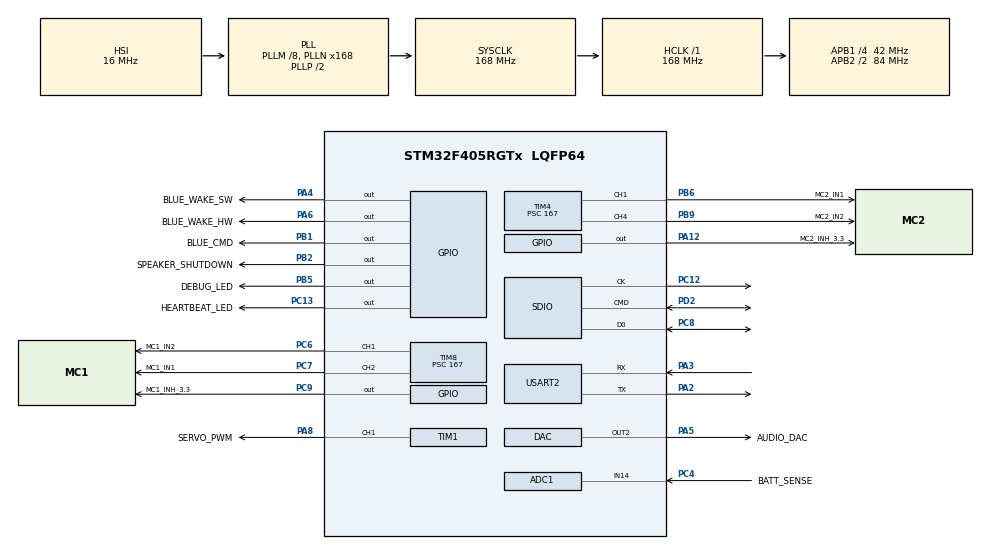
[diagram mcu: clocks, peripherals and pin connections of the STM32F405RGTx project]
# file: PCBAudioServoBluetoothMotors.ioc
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ADC1.Channel-11\#ChannelRegularConversion=ADC_CHANNEL_14
ADC1.ClockPrescaler=ADC_CLOCK_SYNC_PCLK_DIV4
ADC1.ContinuousConvMode=DISABLE
ADC1.DMAContinuousRequests=DISABLE
ADC1.DataAlign=ADC_DATAALIGN_RIGHT
ADC1.DiscontinuousConvMode=DISABLE
ADC1.EOCSelection=ADC_EOC_SINGLE_CONV
ADC1.EnableAnalogWatchDog=false
ADC1.ExternalTrigConvEdge=ADC_EXTERNALTRIGCONVEDGE_NONE
ADC1.InjNumberOfConversion=0
ADC1.NbrOfConversion=1
ADC1.NbrOfConversionFlag=1
ADC1.Rank-11\#ChannelRegularConversion=1
ADC1.Resolution=ADC_RESOLUTION_12B
ADC1.SamplingTime-11\#ChannelRegularConversion=ADC_SAMPLETIME_3CYCLES
ADC1.ScanConvMode=ENABLE
ADC1.master=1
Dma.DAC2.0.Direction=DMA_MEMORY_TO_PERIPH
Dma.DAC2.0.FIFOMode=DMA_FIFOMODE_DISABLE
Dma.DAC2.0.Instance=DMA1_Stream6
Dma.DAC2.0.MemDataAlignment=DMA_MDATAALIGN_BYTE
Dma.DAC2.0.MemInc=DMA_MINC_ENABLE
Dma.DAC2.0.Mode=DMA_NORMAL
Dma.DAC2.0.PeriphDataAlignment=DMA_PDATAALIGN_BYTE
Dma.DAC2.0.PeriphInc=DMA_PINC_DISABLE
Dma.DAC2.0.Priority=DMA_PRIORITY_VERY_HIGH
Dma.Request0=DAC2
Mcu.Family=STM32F4
Mcu.Name=STM32F405RGTx
Mcu.Package=LQFP64
NVIC.ADC_IRQn=true\:0\:0\:false\:false\:true
NVIC.DMA1_Stream6_IRQn=true\:0\:0\:false\:false\:true
NVIC.PriorityGroup=NVIC_PRIORITYGROUP_4
NVIC.TIM1_TRG_COM_TIM11_IRQn=true\:0\:0\:false\:false\:true
NVIC.TIM1_UP_TIM10_IRQn=true\:0\:0\:false\:false\:true
NVIC.TIM2_IRQn=true\:0\:0\:false\:false\:true
NVIC.TIM4_IRQn=true\:0\:0\:false\:false\:true
NVIC.TIM6_DAC_IRQn=true\:0\:0\:false\:false\:true
NVIC.TIM8_UP_TIM13_IRQn=true\:0\:0\:false\:false\:true
NVIC.USART2_IRQn=true\:0\:0\:false\:false\:true
PA12.GPIO_Label=MC2_INH_3.3
PA12.Signal=GPIO_Output
PA13.Mode=JTAG_5_pins
PA13.Signal=SYS_JTMS-SWDIO
PA14.Mode=JTAG_5_pins
PA14.Signal=SYS_JTCK-SWCLK
PA15.Mode=JTAG_5_pins
PA15.Signal=SYS_JTDI
PA2.Mode=Asynchronous
PA2.Signal=USART2_TX
PA3.Mode=Asynchronous
PA3.Signal=USART2_RX
PA4.GPIO_Label=BLUE_WAKE_SW
PA4.Signal=GPIO_Output
PA5.GPIO_Label=AUDIO_DAC
PA5.Signal=COMP_DAC2_group
PA6.GPIO_Label=BLUE_WAKE_HW
PA6.Signal=GPIO_Output
PA8.GPIO_Label=SERVO_PWM
PA8.Signal=S_TIM1_CH1
PB1.GPIO_Label=BLUE_CMD
PB1.Signal=GPIO_Output
PB2.GPIO_Label=SPEAKER_SHUTDOWN
PB2.Signal=GPIO_Output
PB3.Mode=JTAG_5_pins
PB3.Signal=SYS_JTDO-SWO
PB4.Mode=JTAG_5_pins
PB4.Signal=SYS_JTRST
PB5.GPIO_Label=DEBUG_LED
PB5.Signal=GPIO_Output
PB6.GPIO_Label=MC2_IN1
PB6.Signal=S_TIM4_CH1
PB9.GPIO_Label=MC2_IN2
PB9.Signal=S_TIM4_CH4
PC12.Mode=SD_1_bit
PC12.Signal=SDIO_CK
PC13-ANTI_TAMP.GPIO_Label=HEARTBEAT_LED
PC13-ANTI_TAMP.Signal=GPIO_Output
PC4.GPIO_Label=BATT_SENSE
PC4.Signal=ADCx_IN14
PC6.GPIO_Label=MC1_IN2
PC6.Signal=S_TIM8_CH1
PC7.GPIO_Label=MC1_IN1
PC7.Signal=S_TIM8_CH2
PC8.Mode=SD_1_bit
PC8.Signal=SDIO_D0
PC9.GPIO_Label=MC1_INH_3.3
PC9.Signal=GPIO_Output
PD2.Mode=SD_1_bit
PD2.Signal=SDIO_CMD
ProjectManager.HeapSize=0x200
ProjectManager.StackSize=0x400
ProjectManager.TargetToolchain=SW4STM32
RCC.48MHZClocksFreq_Value=48000000
RCC.AHBFreq_Value=168000000
RCC.APB1CLKDivider=RCC_HCLK_DIV4
RCC.APB1Freq_Value=42000000
RCC.APB1TimFreq_Value=84000000
RCC.APB2CLKDivider=RCC_HCLK_DIV2
RCC.APB2Freq_Value=84000000
RCC.APB2TimFreq_Value=168000000
RCC.CortexFreq_Value=168000000
RCC.HCLKFreq_Value=168000000
RCC.HSE_VALUE=25000000
RCC.HSI_VALUE=16000000
RCC.LSE_VALUE=32768
RCC.PLLM=8
RCC.PLLN=168
RCC.PLLQ=7
RCC.SYSCLKFreq_VALUE=168000000
RCC.SYSCLKSource=RCC_SYSCLKSOURCE_PLLCLK
RCC.VCOOutputFreq_Value=336000000
SDIO.BusWide=SDIO_BUS_WIDE_1B
SH.ADCx_IN14.0=ADC1_IN14,IN14
SH.COMP_DAC2_group.0=DAC_OUT2,DAC_OUT2
SH.S_TIM1_CH1.0=TIM1_CH1,PWM Generation1 CH1
SH.S_TIM4_CH1.0=TIM4_CH1,PWM Generation1 CH1
SH.S_TIM4_CH4.0=TIM4_CH4,PWM Generation4 CH4
SH.S_TIM8_CH1.0=TIM8_CH1,PWM Generation1 CH1
SH.S_TIM8_CH2.0=TIM8_CH2,PWM Generation2 CH2
TIM1.Period=20000
TIM1.Prescaler=167
TIM1.Pulse-PWM\ Generation1\ CH1=1500
TIM11.Period=12817
TIM11.Prescaler=65535
TIM11.Pulse=0
TIM13.Period=499
TIM13.Prescaler=4800
TIM2.Channel-Output\ Compare2\ No\ Output=TIM_CHANNEL_2
TIM2.Period=40000
TIM2.Prescaler=83
TIM4.Channel-PWM\ Generation4\ CH4=TIM_CHANNEL_4
TIM4.Period=100
TIM4.Prescaler=167
TIM6.Period=1749
TIM6.TIM_MasterOutputTrigger=TIM_TRGO_UPDATE
TIM8.Channel-PWM\ Generation2\ CH2=TIM_CHANNEL_2
TIM8.Period=100
TIM8.Prescaler=167
VP_FATFS_VS_SDIO.Mode=SDIO
VP_TIM11_VS_ClockSourceINT.Mode=Enable_Timer
VP_TIM11_VS_no_output1.Mode=Output Compare1 No Output
VP_TIM13_VS_ClockSourceINT.Mode=Enable_Timer
VP_TIM2_VS_no_output2.Mode=Output Compare2 No Output
VP_TIM6_VS_ClockSourceINT.Mode=Enable_Timer
board=PCBAudioServoBluetoothMotors

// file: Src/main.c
/**
  ******************************************************************************
  * File Name          : main.c
  * Description        : Main program body
  ******************************************************************************
  *
  * Copyright (c) 2016 STMicroelectronics International N.V.
  * All rights reserved.
  *
  * Redistribution and use in source and binary forms, with or without
  * modification, are permitted, provided that the following conditions are met:
  *
  * 1. Redistribution of source code must retain the above copyright notice,
  *    this list of conditions and the following disclaimer.
  * 2. Redistributions in binary form must reproduce the above copyright notice,
  *    this list of conditions and the following disclaimer in the documentation
  *    and/or other materials provided with the distribution.
  * 3. Neither the name of STMicroelectronics nor the names of other
  *    contributors to this software may be used to endorse or promote products
  *    derived from this software without specific written permission.
  * 4. This software, including modifications and/or derivative works of this
  *    software, must execute solely and exclusively on microcontroller or
  *    microprocessor devices manufactured by or for STMicroelectronics.
  * 5. Redistribution and use of this software other than as permitted under
  *    this license is void and will automatically terminate your rights under
  *    this license.
  *
  * THIS SOFTWARE IS PROVIDED BY STMICROELECTRONICS AND CONTRIBUTORS "AS IS"
  * AND ANY EXPRESS, IMPLIED OR STATUTORY WARRANTIES, INCLUDING, BUT NOT
  * LIMITED TO, THE IMPLIED WARRANTIES OF MERCHANTABILITY, FITNESS FOR A
  * PARTICULAR PURPOSE AND NON-INFRINGEMENT OF THIRD PARTY INTELLECTUAL PROPERTY
  * RIGHTS ARE DISCLAIMED TO THE FULLEST EXTENT PERMITTED BY LAW. IN NO EVENT
  * SHALL STMICROELECTRONICS OR CONTRIBUTORS BE LIABLE FOR ANY DIRECT, INDIRECT,
  * INCIDENTAL, SPECIAL, EXEMPLARY, OR CONSEQUENTIAL DAMAGES (INCLUDING, BUT NOT
  * LIMITED TO, PROCUREMENT OF SUBSTITUTE GOODS OR SERVICES; LOSS OF USE, DATA,
  * OR PROFITS; OR BUSINESS INTERRUPTION) HOWEVER CAUSED AND ON ANY THEORY OF
  * LIABILITY, WHETHER IN CONTRACT, STRICT LIABILITY, OR TORT (INCLUDING
  * NEGLIGENCE OR OTHERWISE) ARISING IN ANY WAY OUT OF THE USE OF THIS SOFTWARE,
  * EVEN IF ADVISED OF THE POSSIBILITY OF SUCH DAMAGE.
  *
  ******************************************************************************
  */
#include "main.h"
#include "stm32f4xx_hal.h"
#include "fatfs.h"

ADC_HandleTypeDef hadc1;

DAC_HandleTypeDef hdac;
DMA_HandleTypeDef hdma_dac2;

SD_HandleTypeDef hsd;
HAL_SD_CardInfoTypedef SDCardInfo;

TIM_HandleTypeDef htim1;
TIM_HandleTypeDef htim2;
TIM_HandleTypeDef htim4;
TIM_HandleTypeDef htim6;
TIM_HandleTypeDef htim8;
TIM_HandleTypeDef htim11;
TIM_HandleTypeDef htim13;

UART_HandleTypeDef huart2;

/* USER CODE BEGIN PV */
/* Private variables ---------------------------------------------------------*/
/*####################################*\
 * AUDIO Private Variables
\*####################################*/
#define AUDIO_buffer_size 96000
uint8_t AUDIO_buffer [AUDIO_buffer_size];
volatile uint32_t AUDIO_buffer_out = 0;
volatile uint8_t AUDIO_current_file = 0;
volatile uint8_t AUDIO_previous_file = 1;
volatile uint32_t AUDIO_current_file_length = 60049;
uint8_t AUDIO_num_files = 4;
FATFS AUDIO_SD_disk;
FIL AUDIO_SD_file;
char AUDIO_SD_diskPath[4] = "\0\0\0\0";

uint8_t AUDIO_buffer_chunk_0 [8192];
uint8_t AUDIO_buffer_chunk_1 [8192];
uint8_t AUDIO_current_chunk_length = 8192;
volatile uint8_t AUDIO_current_buffer = 1;
volatile uint8_t AUDIO_file_opened = 0;

// DAC stuff
DAC_HandleTypeDef DacHandle;
static DAC_ChannelConfTypeDef sConfig;

/*####################################*\
 * Servo Private Variables
\*####################################*/

volatile uint8_t SERVO_direction = 0;
volatile uint16_t SERVO_dutyCycle = 1500; // servo duty cycle in microseconds

/*####################################*\
 * Motor Private Variables
\*####################################*/

volatile uint8_t MOTOR_direction = 0; // 0 is stop, 1 is go, lol rip in peace
volatile uint8_t prev_MOTOR_direction = 0;
volatile int arbitraryCounter = 0;

/*####################################*\
 * Bluetooth Private Variables
\*####################################*/
char bluetoothTxBuffer[100] = "R,1\r\n";
uint8_t bluetoothRxBuffer[2] = {0};

uint8_t commandBuffer[30] = {0};
uint8_t commandBufferIndex = 0;
volatile uint8_t commandReceiveCompleted = 0;

/*####################################*\
 * Battery gauge Private Variables
\*####################################*/
volatile uint32_t rawADC;
volatile float batteryPercentage;
volatile uint8_t batteryPercentageBluetooth = 100;
volatile uint8_t oldBatteryPercentageBluetooth = 100;

/* USER CODE END PV */

void SystemClock_Config(void);
void Error_Handler(void);
static void MX_GPIO_Init(void);
static void MX_DMA_Init(void);
static void MX_DAC_Init(void);
static void MX_SDIO_SD_Init(void);
static void MX_TIM1_Init(void);
static void MX_USART2_UART_Init(void);
static void MX_TIM2_Init(void);
static void MX_TIM6_Init(void);
static void MX_TIM13_Init(void);
static void MX_TIM4_Init(void);
static void MX_ADC1_Init(void);
static void MX_TIM8_Init(void);
static void MX_TIM11_Init(void);

void HAL_TIM_MspPostInit(TIM_HandleTypeDef *htim);

/* USER CODE BEGIN PFP */
/* Private function prototypes -----------------------------------------------*/
/*####################################*\
 * Audio Function Prototypes
\*####################################*/
void AUDIO_SD_readFile(char * filename);
void AUDIO_SD_configure(void);
void AUDIO_DAC_configure(void);
void AUDIO_SD_readFileChunk(char * filename);
void AUDIO_DAC_configureChunk(void);

/*####################################*\
 * Bluetooth Function Prototypes
\*####################################*/
void SystemClock_Config(void);
void Error_Handler(void);
static void MX_GPIO_Init(void);
static void MX_USART2_UART_Init(void);

/* USER CODE END PFP */

/* USER CODE BEGIN 0 */

/// Update battery service value
void HAL_ADC_ConvCpltCallback(ADC_HandleTypeDef* hadc)
{
	if (__HAL_ADC_GET_FLAG(hadc, ADC_FLAG_EOC)) {
		rawADC = HAL_ADC_GetValue(hadc);
		batteryPercentage = ((((((float)rawADC)/4096.0)*13.3)-9.0)/3.4)*100;
		batteryPercentageBluetooth = (uint8_t) batteryPercentage;
		if (batteryPercentageBluetooth != oldBatteryPercentageBluetooth) {//((batteryPercentageBluetooth < (oldBatteryPercentageBluetooth-1)) || (batteryPercentageBluetooth > (oldBatteryPercentageBluetooth+1))) {
			// things have CHANGED
			oldBatteryPercentageBluetooth = batteryPercentageBluetooth;
			// otherwise things haven't
			uint8_t commandToSend[] = "SUW,2A19,00\r\n";
			char sixteensplace [2];
			char onesplace [2];
			sprintf(onesplace, "%1x", ((int)(batteryPercentageBluetooth%16)));
			sprintf(sixteensplace, "%1x", (uint8_t)(((batteryPercentageBluetooth-(batteryPercentageBluetooth%16))/16)));
			commandToSend[9] = sixteensplace[0];
			commandToSend[10] = onesplace[0];
			HAL_UART_Transmit(&huart2, commandToSend, 13, 100);
		}
	}
}

void HAL_UART_RxCpltCallback (UART_HandleTypeDef* huart) {
	if (huart->Instance == USART2) {
		// If we are receiving a new command, zero out its buffer
		if (commandBufferIndex == 0) for (uint8_t i = 0; i < 30; i++) commandBuffer[i] = 0;

		// Check if we have received new-line - end of command
		if (commandReceiveCompleted == 0 && bluetoothRxBuffer[0] != '\n') {
			// Add the received character to the end of the commandBuffer
			commandBuffer[commandBufferIndex++] = bluetoothRxBuffer[0];
		} else if (bluetoothRxBuffer[0] == '\n') {
			commandBufferIndex = 0;
			commandReceiveCompleted = 1;
		}
	}
	HAL_UART_Receive_IT(&huart2, bluetoothRxBuffer, 1);
}

void HAL_UART_ErrorCallback(UART_HandleTypeDef* huart) {
	// HAL_GPIO_TogglePin(LD5_GPIO_Port, LD5_Pin);
	HAL_UART_Receive_IT(&huart2, bluetoothRxBuffer, 1);
}

void BLUE_Process_Command(uint8_t* command) {
	// We are only interested in the WV,0018 command
	if (command[0] == 'W' && command[1] == 'V') {
		if (command[5] == '1' && command[6] == '8') {
			GPIO_PinState stateToSet = GPIO_PIN_SET;
			if (command[8] == '0' && command[9] == '0') {
				// AUDIO_current_file = 0;
				stateToSet = GPIO_PIN_RESET;
			}
			if (command[8] == '0' && command[9] != '0') {
				AUDIO_current_file = command[9]-'0';
			}
			//HAL_GPIO_WritePin(DEBUG_LED_GPIO_Port, DEBUG_LED_Pin, stateToSet);
		}
	}
	// The second characteristic is the WV,001A command
	// I guess I'll use this for the servo

	if (command[0] == 'W' && command[1] == 'V') {
		if (command[5] == '1' && command[6] == 'A') {
			//GPIO_PinState stateToSet = GPIO_PIN_SET;
			if (command[8] == '0' && command[9] == '0') {
				SERVO_direction = 0;
			}
			if (command[8] == '0' && command[9] == '1') {
				SERVO_direction = 1;
			}
			if (command[8] == '0' && command[9] == '2') {
				SERVO_direction = 2;
			}
		}
	}

	// WV, 001C for motor speed
	if (command[0] == 'W' && command[1] == 'V') {
		if (command[5] == '1' && command[6] == 'C') {
			if (command[8] == '0' && command[9] == '0') { // stop motors
				HAL_GPIO_WritePin(MC1_INH_3_3_GPIO_Port, MC1_INH_3_3_Pin, GPIO_PIN_RESET);
				HAL_GPIO_WritePin(MC2_INH_3_3_GPIO_Port, MC2_INH_3_3_Pin, GPIO_PIN_RESET);
				arbitraryCounter = 0;
				prev_MOTOR_direction = MOTOR_direction;
				MOTOR_direction = 0;

				// If we were going forwards, switch the motors to go backwards
				if (prev_MOTOR_direction == 1) {
					TIM4->CCR4 = TIM4->CCR1;
					TIM8->CCR2 = TIM8->CCR1;
					TIM4->CCR1 = 0;
					TIM8->CCR1 = 0;
				}
			} else if (command[8] == '0' && command[9] == '1') {
				HAL_GPIO_WritePin(MC1_INH_3_3_GPIO_Port, MC1_INH_3_3_Pin, GPIO_PIN_SET);
				HAL_GPIO_WritePin(MC2_INH_3_3_GPIO_Port, MC2_INH_3_3_Pin, GPIO_PIN_SET);
				prev_MOTOR_direction = MOTOR_direction;
				MOTOR_direction = 1;
				// HAL_GPIO_WritePin(MC2_IN1_GPIO_Port, MC2_IN1_Pin, GPIO_PIN_SET);
				// HAL_GPIO_WritePin(MC2_IN2_GPIO_Port, MC2_IN2_Pin, GPIO_PIN_RESET);
			} else if (command[8] == '0' && command[9] == '2') {
				HAL_GPIO_WritePin(MC1_INH_3_3_GPIO_Port, MC1_INH_3_3_Pin, GPIO_PIN_SET);
				HAL_GPIO_WritePin(MC2_INH_3_3_GPIO_Port, MC2_INH_3_3_Pin, GPIO_PIN_SET);
				prev_MOTOR_direction = MOTOR_direction;
				MOTOR_direction = 2;
			} else if (command[8] == '0' && command[9] == '3') {
				HAL_GPIO_WritePin(MC1_INH_3_3_GPIO_Port, MC1_INH_3_3_Pin, GPIO_PIN_SET);
				HAL_GPIO_WritePin(MC2_INH_3_3_GPIO_Port, MC2_INH_3_3_Pin, GPIO_PIN_SET);
				prev_MOTOR_direction = MOTOR_direction;
				MOTOR_direction = 3;
			} else if (command[8] == '0' && command[9] == '4') {
				HAL_GPIO_WritePin(MC1_INH_3_3_GPIO_Port, MC1_INH_3_3_Pin, GPIO_PIN_SET);
				HAL_GPIO_WritePin(MC2_INH_3_3_GPIO_Port, MC2_INH_3_3_Pin, GPIO_PIN_SET);
				prev_MOTOR_direction = MOTOR_direction;
				MOTOR_direction = 4;
			}
		}
	}
	commandReceiveCompleted = 0;
}

/*############################*\
 * Servo Timer Update Interrupt
\*############################*/
void HAL_TIM_PeriodElapsedCallback(TIM_HandleTypeDef *htim) {
	// HAL_GPIO_WritePin(LD5_GPIO_Port, LD5_Pin, GPIO_PIN_RESET);
	uint8_t SERVO_speed = 50;
	if(htim->Instance == TIM2) {
		if(SERVO_direction == 0) {
					return;
		}
		if(SERVO_direction == 1) {
			// go right
			SERVO_dutyCycle += SERVO_speed;
			if (SERVO_dutyCycle > 2400) {
				SERVO_dutyCycle = 2400;
			}
		} else if (SERVO_direction == 2) {
			// go left
			SERVO_dutyCycle -= SERVO_speed;
			if (SERVO_dutyCycle < 600) {
				SERVO_dutyCycle = 600;
			}
		}
		TIM1->CCR1 = (uint32_t)SERVO_dutyCycle;
	} else if (htim->Instance == TIM13) {
		HAL_GPIO_TogglePin(HEARTBEAT_LED_GPIO_Port, HEARTBEAT_LED_Pin);
	} else if (htim->Instance == TIM4) {
		if (MOTOR_direction != 0) {
			arbitraryCounter++;
			if (arbitraryCounter > 100) {
				arbitraryCounter = 0;
				if (MOTOR_direction == 1) {
					// Start TIM4 Channel 1 and TIM8 Channel 1
					if (TIM4->CCR1 < 50) TIM4->CCR1 += 1;
					else TIM4->CCR1 = 50;

					if (TIM8->CCR1 < 50) TIM8->CCR1 += 1;
					else TIM8->CCR1 = 50;

					// Stop TIM4 Channel 4 and TIM8 Channel 2
					if (TIM4->CCR4 > 1) TIM4->CCR4 -= 1;
					else TIM4->CCR4 = 0;

					if (TIM8->CCR2 > 1) TIM8->CCR2 -= 1;
					else TIM8->CCR2 = 0;
				}

				if (MOTOR_direction == 2) {
					// Start TIM4 Channel 4 and TIM8 Channel 2
					if (TIM4->CCR4 < 50) TIM4->CCR4 += 1;
					else TIM4->CCR4 = 50;

					if (TIM8->CCR2 < 50) TIM8->CCR2 += 1;
					else TIM8->CCR2 = 50;

					// Stop TIM4 Channel 1 and TIM8 Channel 1
					if (TIM4->CCR1 > 1) TIM4->CCR1 -= 1;
					else TIM4->CCR1 = 0;

					if (TIM8->CCR1 > 1) TIM8->CCR1 -= 1;
					else TIM8->CCR1 = 0;
				}

				if (MOTOR_direction == 3) {
					// Start TIM4 Channel 4 and TIM8 Channel 1
					if (TIM4->CCR4 < 30) TIM4->CCR4 += 1;
					else TIM4->CCR4 = 30;

					if (TIM8->CCR1 < 30) TIM8->CCR1 += 1;
					else TIM8->CCR1 = 30;

					// Stop TIM4 Channel 1 and TIM8 Channel 2
					if (TIM4->CCR1 > 1) TIM4->CCR1 -= 1;
					else TIM4->CCR1 = 0;

					if (TIM8->CCR2 > 1) TIM8->CCR2 -= 1;
					else TIM8->CCR2 = 0;
				}

				if (MOTOR_direction == 4) {
					// Start TIM4 Channel 1 and TIM8 Channel 2
					if (TIM4->CCR1 < 30) TIM4->CCR1 += 1;
					else TIM4->CCR1 = 30;
					if (TIM8->CCR2 < 30) TIM8->CCR2 += 1;
					else TIM8->CCR2 = 30;

					// Stop TIM4 Channel 4 and TIM8 Channel 1
					if (TIM4->CCR4 > 1) TIM4->CCR4 -= 1;
					else TIM4->CCR4 = 0;

					if (TIM8->CCR1 > 1) TIM8->CCR1 -= 1;
					else TIM8->CCR1 = 0;
				}
				/*if (MOTOR_direction == 1 || MOTOR_direction == 4) {
					if (TIM4->CCR1 < 50) TIM4->CCR1 += 1;
					TIM4->CCR4 = 0;
				} else if (MOTOR_direction == 2 || MOTOR_direction == 3) {
					if (TIM4->CCR4 < 50) TIM4->CCR4 += 1;
					TIM4->CCR1 = 0;
				}
				if (MOTOR_direction == 2 || MOTOR_direction == 4) {
					if (TIM8->CCR2 < 50) TIM8->CCR2 += 1;
					TIM8->CCR1 = 0;
				} else if (MOTOR_direction == 1 || MOTOR_direction == 3) {
					if (TIM8->CCR1 < 50) TIM8->CCR1 += 1;
					TIM8->CCR2 = 0;
				} */
			}
		} else {
			// all stop
			// TIM4->CCR1 = 0;
			// TIM4->CCR4 = 0;
			// TIM8->CCR1 = 0;
			// TIM8->CCR2 = 0;
			if (TIM4->CCR1 != 0 || TIM4->CCR4 != 0 || TIM8->CCR1 != 0 || TIM8->CCR2 != 0) {
				arbitraryCounter++;
				if (arbitraryCounter > 100) {
					arbitraryCounter = 0;

					if (TIM4->CCR1 > 1) TIM4->CCR1 -= 1;
					else TIM4->CCR1 = 0;

					if (TIM4->CCR4 > 1) TIM4->CCR4 -= 1;
					else TIM4->CCR4 = 0;

					if (TIM8->CCR1 > 1) TIM8->CCR1 -= 1;
					else TIM8->CCR1 = 0;

					if (TIM8->CCR2 > 1) TIM8->CCR2 -= 1;
					else TIM8->CCR2 = 0;
				}
			} else {
				arbitraryCounter = 0;
			}
		}
	} else if (htim->Instance == TIM11) {
		//adc
		HAL_ADC_Start_IT(&hadc1);
	}

}

/////////////////////////
// SD Stuff           //
////////////////////////

void AUDIO_SD_configure(void) {
	//if(FATFS_LinkDriver(&SD_Driver,AUDIO_SD_diskPath)==0) {
	// AUDIO_SD_diskPath[0] = '0';
	FRESULT mountResult = f_mount(&AUDIO_SD_disk, (TCHAR const*)AUDIO_SD_diskPath, 0);
	if(mountResult != FR_OK) {
		// HAL_GPIO_WritePin(LD5_GPIO_Port, LD5_Pin, GPIO_PIN_SET);
		return;
		//cry
	}
	// HAL_GPIO_WritePin(LD4_GPIO_Port, LD4_Pin, GPIO_PIN_SET);
	//}
	return;
}

void AUDIO_SD_readFile(char * filename) {
	UINT bytesRead;
	FRESULT openResult = f_open(&AUDIO_SD_file, filename, FA_OPEN_ALWAYS | FA_READ);
	if(openResult != FR_OK)
	{
	  /* 'STM32.TXT' file Open for write Error */
		// HAL_GPIO_WritePin(LD5_GPIO_Port, LD5_Pin, GPIO_PIN_SET);
	  return;
	}
	FRESULT readResult = f_read(&AUDIO_SD_file, &AUDIO_buffer, AUDIO_buffer_size, &bytesRead);
	if(readResult != FR_OK) {
	  // please read the file properly
		// HAL_GPIO_WritePin(LD5_GPIO_Port, LD5_Pin, GPIO_PIN_SET);
	  return;
	}
	f_close(&AUDIO_SD_file);
	AUDIO_current_file_length = bytesRead;
	return;
}

void AUDIO_DAC_configure(void) {
	if(HAL_DAC_Init(&DacHandle) != HAL_OK) {
		// HAL_GPIO_WritePin(LD5_GPIO_Port, LD5_Pin, GPIO_PIN_SET);
		return;
	}
	HAL_DAC_Stop_DMA(&DacHandle, DAC_CHANNEL_2);
	sConfig.DAC_Trigger = DAC_TRIGGER_T6_TRGO;
	sConfig.DAC_OutputBuffer = DAC_OUTPUTBUFFER_ENABLE;
	if(HAL_DAC_ConfigChannel(&DacHandle, &sConfig, DAC_CHANNEL_2) != HAL_OK) {
		/* Channel configuration Error */
		// HAL_GPIO_WritePin(LD5_GPIO_Port, LD5_Pin, GPIO_PIN_SET);
		return;
	}
	if((HAL_DAC_Start(&DacHandle,DAC_CHANNEL_2)) != HAL_OK) {
		// HAL_GPIO_WritePin(LD5_GPIO_Port, LD5_Pin, GPIO_PIN_SET);
		return;
	}
	if((HAL_DAC_Start_DMA(&DacHandle, DAC_CHANNEL_2, (uint32_t*)AUDIO_buffer, AUDIO_current_file_length, DAC_ALIGN_8B_R) != HAL_OK)) {
		// HAL_GPIO_WritePin(LD5_GPIO_Port, LD5_Pin, GPIO_PIN_SET);
		return;
	}
	// HAL_GPIO_WritePin(LD6_GPIO_Port, LD6_Pin, GPIO_PIN_SET);
}

void AUDIO_SD_readFileChunk(char * filename) {
	UINT bytesRead;
	uint8_t * currentBuffer;
	if (AUDIO_current_buffer == 0) {
		currentBuffer = AUDIO_buffer_chunk_1;
	} else {
		currentBuffer = AUDIO_buffer_chunk_0;
	}
	FRESULT openResult = FR_DISK_ERR;
	if (!AUDIO_file_opened) {
		openResult = f_open(&AUDIO_SD_file, filename, FA_OPEN_ALWAYS | FA_READ);
		if(openResult != FR_OK)
		{
		  /* 'STM32.TXT' file Open for write Error */
			// HAL_GPIO_WritePin(LD5_GPIO_Port, LD5_Pin, GPIO_PIN_SET);
		  return;
		}
		FRESULT readResult = f_read(&AUDIO_SD_file, AUDIO_buffer_chunk_0, 8192, &bytesRead);
		if(readResult != FR_OK) {
		  // please read the file properly
			// HAL_GPIO_WritePin(LD5_GPIO_Port, LD5_Pin, GPIO_PIN_SET);
		  return;
		}
		AUDIO_file_opened = 1;
	}
	FRESULT readResult = f_read(&AUDIO_SD_file, currentBuffer, 8192, &bytesRead);
	if(readResult != FR_OK) {
	  // please read the file properly
		// HAL_GPIO_WritePin(LD5_GPIO_Port, LD5_Pin, GPIO_PIN_SET);
	  return;
	}
	if(f_eof(&AUDIO_SD_file)) {
		f_close(&AUDIO_SD_file);
		AUDIO_current_file = 0;
	}
	AUDIO_current_chunk_length = bytesRead;
	return;
}

void AUDIO_DAC_configureChunk(void) {
	uint8_t * currentBuffer;
	if (AUDIO_current_buffer == 0) {
		currentBuffer = AUDIO_buffer_chunk_0;
	} else {
		currentBuffer = AUDIO_buffer_chunk_1;
	}
	if(HAL_DAC_Init(&DacHandle) != HAL_OK) {
		// HAL_GPIO_WritePin(LD5_GPIO_Port, LD5_Pin, GPIO_PIN_SET);
		return;
	}
	HAL_DAC_Stop_DMA(&DacHandle, DAC_CHANNEL_2);
	sConfig.DAC_Trigger = DAC_TRIGGER_T6_TRGO;
	sConfig.DAC_OutputBuffer = DAC_OUTPUTBUFFER_ENABLE;
	if(HAL_DAC_ConfigChannel(&DacHandle, &sConfig, DAC_CHANNEL_2) != HAL_OK) {
		/* Channel configuration Error */
		// HAL_GPIO_WritePin(LD5_GPIO_Port, LD5_Pin, GPIO_PIN_SET);
		return;
	}
	if((HAL_DAC_Start(&DacHandle,DAC_CHANNEL_2)) != HAL_OK) {
		// HAL_GPIO_WritePin(LD5_GPIO_Port, LD5_Pin, GPIO_PIN_SET);
		return;
	}
	if((HAL_DAC_Start_DMA(&DacHandle, DAC_CHANNEL_2, (uint32_t*)currentBuffer, AUDIO_current_chunk_length, DAC_ALIGN_8B_R) != HAL_OK)) {
		// HAL_GPIO_WritePin(LD5_GPIO_Port, LD5_Pin, GPIO_PIN_SET);
		return;
	}
	// HAL_GPIO_WritePin(LD6_GPIO_Port, LD6_Pin, GPIO_PIN_SET);
}

/*#############################*\
 * DAC Transfer complete callback
\*#############################*/

void HAL_DACEx_ConvCpltCallbackCh2(DAC_HandleTypeDef* hdac)
{
	AUDIO_current_file = 0;
}

/*
void HAL_DACEx_ConvCpltCallbackCh2(DAC_HandleTypeDef* hdac)
{
	AUDIO_DAC_configureChunk();
	AUDIO_current_buffer = (AUDIO_current_buffer + 1)%1;
	AUDIO_SD_readFileChunk("rip");
}
*/

/* USER CODE END 0 */

int main(void)
{

  /* MCU Configuration----------------------------------------------------------*/

  /* Reset of all peripherals, Initializes the Flash interface and the Systick. */
  HAL_Init();

  /* Configure the system clock */
  SystemClock_Config();

  /* Initialize all configured peripherals */
  MX_GPIO_Init();
  MX_DMA_Init();
  MX_DAC_Init();
  MX_SDIO_SD_Init();
  MX_TIM1_Init();
  MX_USART2_UART_Init();
  MX_TIM2_Init();
  MX_TIM6_Init();
  MX_FATFS_Init();
  MX_TIM13_Init();
  MX_TIM4_Init();
  MX_ADC1_Init();
  MX_TIM8_Init();
  MX_TIM11_Init();

  /* USER CODE BEGIN 2 */
  // Wake up the RN4020
  HAL_Delay(200);
  HAL_GPIO_WritePin(BLUE_WAKE_HW_GPIO_Port, BLUE_WAKE_HW_Pin, GPIO_PIN_SET);
  HAL_Delay(200);
  HAL_GPIO_WritePin(BLUE_WAKE_SW_GPIO_Port, BLUE_WAKE_SW_Pin, GPIO_PIN_SET);
  HAL_Delay(300);

  // Restart RN4020 module
  HAL_UART_Transmit(&huart2, (uint8_t *) bluetoothTxBuffer, 5, 10);

  // After restarting, will automatically advertise if configured with SR,20000000
  HAL_Delay(300);

  // Set UART receive on an interrupt
  HAL_UART_Receive_IT(&huart2, bluetoothRxBuffer, 1);

  // DAC Stuff
  DacHandle.Instance = DAC;
  AUDIO_SD_configure();
  //AUDIO_SD_readFile("1.bb8");
  HAL_TIM_Base_Start(&htim6);
  //AUDIO_DAC_configure();

  // Enable PWM

  HAL_TIM_Base_Start_IT(&htim1);
  HAL_TIM_Base_Start_IT(&htim2);
  HAL_TIM_PWM_Start(&htim1,TIM_CHANNEL_1);

  HAL_TIM_Base_Start_IT(&htim4);
  HAL_TIM_PWM_Start(&htim4,TIM_CHANNEL_1);
  HAL_TIM_PWM_Start(&htim4, TIM_CHANNEL_4);

  HAL_TIM_Base_Start_IT(&htim8);
  HAL_TIM_PWM_Start(&htim8, TIM_CHANNEL_1);
  HAL_TIM_PWM_Start(&htim8, TIM_CHANNEL_2);

  // Heartbeat LED
  HAL_TIM_Base_Start_IT(&htim13);

  //Battery status timers
  HAL_ADC_Start_IT(&hadc1);
  HAL_TIM_Base_Start_IT(&htim11);

  // this doesn't exist
  HAL_GPIO_WritePin(SPEAKER_SHUTDOWN_GPIO_Port, SPEAKER_SHUTDOWN_Pin, GPIO_PIN_SET);
  /* USER CODE END 2 */

  /* Infinite loop */
  while (1)
  {

  /* USER CODE BEGIN 3 */
	  if (commandReceiveCompleted) BLUE_Process_Command(commandBuffer);
	  // if (changeBatteryService) BLUE_Update_Battery();
	  if (AUDIO_current_file != AUDIO_previous_file) {
		  AUDIO_previous_file = AUDIO_current_file;
		  char fileToRead [6] = {(AUDIO_current_file+'0'),'.','b','b','8'};
		  AUDIO_SD_readFile(fileToRead);
		  AUDIO_DAC_configure();
		  /* not working rip */
		  //AUDIO_file_opened = 0;
		  //f_close(&AUDIO_SD_file);
		  //AUDIO_current_buffer = 0;
		  //AUDIO_SD_readFileChunk(fileToRead);
		  //AUDIO_DAC_configureChunk();
	  }
	  if (AUDIO_current_file == 0) {
		  HAL_DAC_Stop_DMA(&DacHandle, DAC_CHANNEL_2);
		  HAL_DAC_Stop(&DacHandle,DAC_CHANNEL_2);
	  }
  }
  /* USER CODE END 3 */

}

/** System Clock Configuration
*/
void SystemClock_Config(void)
{

  RCC_OscInitTypeDef RCC_OscInitStruct;
  RCC_ClkInitTypeDef RCC_ClkInitStruct;

    /**Configure the main internal regulator output voltage
    */
  __HAL_RCC_PWR_CLK_ENABLE();

  __HAL_PWR_VOLTAGESCALING_CONFIG(PWR_REGULATOR_VOLTAGE_SCALE1);

    /**Initializes the CPU, AHB and APB busses clocks
    */
  RCC_OscInitStruct.OscillatorType = RCC_OSCILLATORTYPE_HSI;
  RCC_OscInitStruct.HSIState = RCC_HSI_ON;
  RCC_OscInitStruct.HSICalibrationValue = 16;
  RCC_OscInitStruct.PLL.PLLState = RCC_PLL_ON;
  RCC_OscInitStruct.PLL.PLLSource = RCC_PLLSOURCE_HSI;
  RCC_OscInitStruct.PLL.PLLM = 8;
  RCC_OscInitStruct.PLL.PLLN = 168;
  RCC_OscInitStruct.PLL.PLLP = RCC_PLLP_DIV2;
  RCC_OscInitStruct.PLL.PLLQ = 7;
  if (HAL_RCC_OscConfig(&RCC_OscInitStruct) != HAL_OK)
  {
    Error_Handler();
  }

    /**Initializes the CPU, AHB and APB busses clocks
    */
  RCC_ClkInitStruct.ClockType = RCC_CLOCKTYPE_HCLK|RCC_CLOCKTYPE_SYSCLK
                              |RCC_CLOCKTYPE_PCLK1|RCC_CLOCKTYPE_PCLK2;
  RCC_ClkInitStruct.SYSCLKSource = RCC_SYSCLKSOURCE_PLLCLK;
  RCC_ClkInitStruct.AHBCLKDivider = RCC_SYSCLK_DIV1;
  RCC_ClkInitStruct.APB1CLKDivider = RCC_HCLK_DIV4;
  RCC_ClkInitStruct.APB2CLKDivider = RCC_HCLK_DIV2;

  if (HAL_RCC_ClockConfig(&RCC_ClkInitStruct, FLASH_LATENCY_5) != HAL_OK)
  {
    Error_Handler();
  }

    /**Configure the Systick interrupt time
    */
  HAL_SYSTICK_Config(HAL_RCC_GetHCLKFreq()/1000);

    /**Configure the Systick
    */
  HAL_SYSTICK_CLKSourceConfig(SYSTICK_CLKSOURCE_HCLK);

  /* SysTick_IRQn interrupt configuration */
  HAL_NVIC_SetPriority(SysTick_IRQn, 0, 0);
}

/* ADC1 init function */
static void MX_ADC1_Init(void)
{

  ADC_ChannelConfTypeDef sConfig;

    /**Configure the global features of the ADC (Clock, Resolution, Data Alignment and number of conversion)
    */
  hadc1.Instance = ADC1;
  hadc1.Init.ClockPrescaler = ADC_CLOCK_SYNC_PCLK_DIV4;
  hadc1.Init.Resolution = ADC_RESOLUTION_12B;
  hadc1.Init.ScanConvMode = ENABLE;
  hadc1.Init.ContinuousConvMode = DISABLE;
  hadc1.Init.DiscontinuousConvMode = DISABLE;
  hadc1.Init.ExternalTrigConvEdge = ADC_EXTERNALTRIGCONVEDGE_NONE;
  hadc1.Init.DataAlign = ADC_DATAALIGN_RIGHT;
  hadc1.Init.NbrOfConversion = 1;
  hadc1.Init.DMAContinuousRequests = DISABLE;
  hadc1.Init.EOCSelection = ADC_EOC_SINGLE_CONV;
  if (HAL_ADC_Init(&hadc1) != HAL_OK)
  {
    Error_Handler();
  }

    /**Configure for the selected ADC regular channel its corresponding rank in the sequencer and its sample time.
    */
  sConfig.Channel = ADC_CHANNEL_14;
  sConfig.Rank = 1;
  sConfig.SamplingTime = ADC_SAMPLETIME_3CYCLES;
  if (HAL_ADC_ConfigChannel(&hadc1, &sConfig) != HAL_OK)
  {
    Error_Handler();
  }

}

/* DAC init function */
static void MX_DAC_Init(void)
{

  DAC_ChannelConfTypeDef sConfig;

    /**DAC Initialization
    */
  hdac.Instance = DAC;
  if (HAL_DAC_Init(&hdac) != HAL_OK)
  {
    Error_Handler();
  }

    /**DAC channel OUT2 config
    */
  sConfig.DAC_Trigger = DAC_TRIGGER_NONE;
  sConfig.DAC_OutputBuffer = DAC_OUTPUTBUFFER_ENABLE;
  if (HAL_DAC_ConfigChannel(&hdac, &sConfig, DAC_CHANNEL_2) != HAL_OK)
  {
    Error_Handler();
  }

}

/* SDIO init function */
static void MX_SDIO_SD_Init(void)
{

  hsd.Instance = SDIO;
  hsd.Init.ClockEdge = SDIO_CLOCK_EDGE_RISING;
  hsd.Init.ClockBypass = SDIO_CLOCK_BYPASS_DISABLE;
  hsd.Init.ClockPowerSave = SDIO_CLOCK_POWER_SAVE_DISABLE;
  hsd.Init.BusWide = SDIO_BUS_WIDE_1B;
  hsd.Init.HardwareFlowControl = SDIO_HARDWARE_FLOW_CONTROL_DISABLE;
  hsd.Init.ClockDiv = 0;

}

/* TIM1 init function */
static void MX_TIM1_Init(void)
{

  TIM_MasterConfigTypeDef sMasterConfig;
  TIM_OC_InitTypeDef sConfigOC;
  TIM_BreakDeadTimeConfigTypeDef sBreakDeadTimeConfig;

  htim1.Instance = TIM1;
  htim1.Init.Prescaler = 167;
  htim1.Init.CounterMode = TIM_COUNTERMODE_UP;
  htim1.Init.Period = 20000;
  htim1.Init.ClockDivision = TIM_CLOCKDIVISION_DIV1;
  htim1.Init.RepetitionCounter = 0;
  if (HAL_TIM_PWM_Init(&htim1) != HAL_OK)
  {
    Error_Handler();
  }

  sMasterConfig.MasterOutputTrigger = TIM_TRGO_RESET;
  sMasterConfig.MasterSlaveMode = TIM_MASTERSLAVEMODE_DISABLE;
  if (HAL_TIMEx_MasterConfigSynchronization(&htim1, &sMasterConfig) != HAL_OK)
  {
    Error_Handler();
  }

  sConfigOC.OCMode = TIM_OCMODE_PWM1;
  sConfigOC.Pulse = 1500;
  sConfigOC.OCPolarity = TIM_OCPOLARITY_HIGH;
  sConfigOC.OCNPolarity = TIM_OCNPOLARITY_HIGH;
  sConfigOC.OCFastMode = TIM_OCFAST_DISABLE;
  sConfigOC.OCIdleState = TIM_OCIDLESTATE_RESET;
  sConfigOC.OCNIdleState = TIM_OCNIDLESTATE_RESET;
  if (HAL_TIM_PWM_ConfigChannel(&htim1, &sConfigOC, TIM_CHANNEL_1) != HAL_OK)
  {
    Error_Handler();
  }

  sBreakDeadTimeConfig.OffStateRunMode = TIM_OSSR_DISABLE;
  sBreakDeadTimeConfig.OffStateIDLEMode = TIM_OSSI_DISABLE;
  sBreakDeadTimeConfig.LockLevel = TIM_LOCKLEVEL_OFF;
  sBreakDeadTimeConfig.DeadTime = 0;
  sBreakDeadTimeConfig.BreakState = TIM_BREAK_DISABLE;
  sBreakDeadTimeConfig.BreakPolarity = TIM_BREAKPOLARITY_HIGH;
  sBreakDeadTimeConfig.AutomaticOutput = TIM_AUTOMATICOUTPUT_DISABLE;
  if (HAL_TIMEx_ConfigBreakDeadTime(&htim1, &sBreakDeadTimeConfig) != HAL_OK)
  {
    Error_Handler();
  }

  HAL_TIM_MspPostInit(&htim1);

}

/* TIM2 init function */
static void MX_TIM2_Init(void)
{

  TIM_MasterConfigTypeDef sMasterConfig;
  TIM_OC_InitTypeDef sConfigOC;

  htim2.Instance = TIM2;
  htim2.Init.Prescaler = 83;
  htim2.Init.CounterMode = TIM_COUNTERMODE_UP;
  htim2.Init.Period = 40000;
  htim2.Init.ClockDivision = TIM_CLOCKDIVISION_DIV1;
  if (HAL_TIM_OC_Init(&htim2) != HAL_OK)
  {
    Error_Handler();
  }

  sMasterConfig.MasterOutputTrigger = TIM_TRGO_RESET;
  sMasterConfig.MasterSlaveMode = TIM_MASTERSLAVEMODE_DISABLE;
  if (HAL_TIMEx_MasterConfigSynchronization(&htim2, &sMasterConfig) != HAL_OK)
  {
    Error_Handler();
  }

  sConfigOC.OCMode = TIM_OCMODE_TIMING;
  sConfigOC.Pulse = 0;
  sConfigOC.OCPolarity = TIM_OCPOLARITY_HIGH;
  sConfigOC.OCFastMode = TIM_OCFAST_DISABLE;
  if (HAL_TIM_OC_ConfigChannel(&htim2, &sConfigOC, TIM_CHANNEL_2) != HAL_OK)
  {
    Error_Handler();
  }

}

/* TIM4 init function */
static void MX_TIM4_Init(void)
{

  TIM_MasterConfigTypeDef sMasterConfig;
  TIM_OC_InitTypeDef sConfigOC;

  htim4.Instance = TIM4;
  htim4.Init.Prescaler = 167;
  htim4.Init.CounterMode = TIM_COUNTERMODE_UP;
  htim4.Init.Period = 100;
  htim4.Init.ClockDivision = TIM_CLOCKDIVISION_DIV1;
  if (HAL_TIM_PWM_Init(&htim4) != HAL_OK)
  {
    Error_Handler();
  }

  sMasterConfig.MasterOutputTrigger = TIM_TRGO_RESET;
  sMasterConfig.MasterSlaveMode = TIM_MASTERSLAVEMODE_DISABLE;
  if (HAL_TIMEx_MasterConfigSynchronization(&htim4, &sMasterConfig) != HAL_OK)
  {
    Error_Handler();
  }

  sConfigOC.OCMode = TIM_OCMODE_PWM1;
  sConfigOC.Pulse = 0;
  sConfigOC.OCPolarity = TIM_OCPOLARITY_HIGH;
  sConfigOC.OCFastMode = TIM_OCFAST_DISABLE;
  if (HAL_TIM_PWM_ConfigChannel(&htim4, &sConfigOC, TIM_CHANNEL_1) != HAL_OK)
  {
    Error_Handler();
  }

  if (HAL_TIM_PWM_ConfigChannel(&htim4, &sConfigOC, TIM_CHANNEL_4) != HAL_OK)
  {
    Error_Handler();
  }

  HAL_TIM_MspPostInit(&htim4);

}

/* TIM6 init function */
static void MX_TIM6_Init(void)
{

  TIM_MasterConfigTypeDef sMasterConfig;

  htim6.Instance = TIM6;
  htim6.Init.Prescaler = 0;
  htim6.Init.CounterMode = TIM_COUNTERMODE_UP;
  htim6.Init.Period = 1749;
  if (HAL_TIM_Base_Init(&htim6) != HAL_OK)
  {
    Error_Handler();
  }

  sMasterConfig.MasterOutputTrigger = TIM_TRGO_UPDATE;
  sMasterConfig.MasterSlaveMode = TIM_MASTERSLAVEMODE_DISABLE;
  if (HAL_TIMEx_MasterConfigSynchronization(&htim6, &sMasterConfig) != HAL_OK)
  {
    Error_Handler();
  }

}

/* TIM8 init function */
static void MX_TIM8_Init(void)
{

  TIM_MasterConfigTypeDef sMasterConfig;
  TIM_OC_InitTypeDef sConfigOC;
  TIM_BreakDeadTimeConfigTypeDef sBreakDeadTimeConfig;

  htim8.Instance = TIM8;
  htim8.Init.Prescaler = 167;
  htim8.Init.CounterMode = TIM_COUNTERMODE_UP;
  htim8.Init.Period = 100;
  htim8.Init.ClockDivision = TIM_CLOCKDIVISION_DIV1;
  htim8.Init.RepetitionCounter = 0;
  if (HAL_TIM_PWM_Init(&htim8) != HAL_OK)
  {
    Error_Handler();
  }

  sMasterConfig.MasterOutputTrigger = TIM_TRGO_RESET;
  sMasterConfig.MasterSlaveMode = TIM_MASTERSLAVEMODE_DISABLE;
  if (HAL_TIMEx_MasterConfigSynchronization(&htim8, &sMasterConfig) != HAL_OK)
  {
    Error_Handler();
  }

  sConfigOC.OCMode = TIM_OCMODE_PWM1;
  sConfigOC.Pulse = 0;
  sConfigOC.OCPolarity = TIM_OCPOLARITY_HIGH;
  sConfigOC.OCNPolarity = TIM_OCNPOLARITY_HIGH;
  sConfigOC.OCFastMode = TIM_OCFAST_DISABLE;
  sConfigOC.OCIdleState = TIM_OCIDLESTATE_RESET;
  sConfigOC.OCNIdleState = TIM_OCNIDLESTATE_RESET;
  if (HAL_TIM_PWM_ConfigChannel(&htim8, &sConfigOC, TIM_CHANNEL_1) != HAL_OK)
  {
    Error_Handler();
  }

  if (HAL_TIM_PWM_ConfigChannel(&htim8, &sConfigOC, TIM_CHANNEL_2) != HAL_OK)
  {
    Error_Handler();
  }

  sBreakDeadTimeConfig.OffStateRunMode = TIM_OSSR_DISABLE;
  sBreakDeadTimeConfig.OffStateIDLEMode = TIM_OSSI_DISABLE;
  sBreakDeadTimeConfig.LockLevel = TIM_LOCKLEVEL_OFF;
  sBreakDeadTimeConfig.DeadTime = 0;
  sBreakDeadTimeConfig.BreakState = TIM_BREAK_DISABLE;
  sBreakDeadTimeConfig.BreakPolarity = TIM_BREAKPOLARITY_HIGH;
  sBreakDeadTimeConfig.AutomaticOutput = TIM_AUTOMATICOUTPUT_DISABLE;
  if (HAL_TIMEx_ConfigBreakDeadTime(&htim8, &sBreakDeadTimeConfig) != HAL_OK)
  {
    Error_Handler();
  }

  HAL_TIM_MspPostInit(&htim8);

}

/* TIM11 init function */
static void MX_TIM11_Init(void)
{

  TIM_OC_InitTypeDef sConfigOC;

  htim11.Instance = TIM11;
  htim11.Init.Prescaler = 65535;
  htim11.Init.CounterMode = TIM_COUNTERMODE_UP;
  htim11.Init.Period = 12817;
  htim11.Init.ClockDivision = TIM_CLOCKDIVISION_DIV1;
  if (HAL_TIM_Base_Init(&htim11) != HAL_OK)
  {
    Error_Handler();
  }

  if (HAL_TIM_OC_Init(&htim11) != HAL_OK)
  {
    Error_Handler();
  }

  sConfigOC.OCMode = TIM_OCMODE_TIMING;
  sConfigOC.Pulse = 0;
  sConfigOC.OCPolarity = TIM_OCPOLARITY_HIGH;
  sConfigOC.OCFastMode = TIM_OCFAST_DISABLE;
  if (HAL_TIM_OC_ConfigChannel(&htim11, &sConfigOC, TIM_CHANNEL_1) != HAL_OK)
  {
    Error_Handler();
  }

}

/* TIM13 init function */
static void MX_TIM13_Init(void)
{

  htim13.Instance = TIM13;
  htim13.Init.Prescaler = 4800;
  htim13.Init.CounterMode = TIM_COUNTERMODE_UP;
  htim13.Init.Period = 499;
  htim13.Init.ClockDivision = TIM_CLOCKDIVISION_DIV1;
  if (HAL_TIM_Base_Init(&htim13) != HAL_OK)
  {
    Error_Handler();
  }

}

/* USART2 init function */
static void MX_USART2_UART_Init(void)
{

  huart2.Instance = USART2;
  huart2.Init.BaudRate = 115200;
  huart2.Init.WordLength = UART_WORDLENGTH_8B;
  huart2.Init.StopBits = UART_STOPBITS_1;
  huart2.Init.Parity = UART_PARITY_NONE;
  huart2.Init.Mode = UART_MODE_TX_RX;
  huart2.Init.HwFlowCtl = UART_HWCONTROL_NONE;
  huart2.Init.OverSampling = UART_OVERSAMPLING_16;
  if (HAL_UART_Init(&huart2) != HAL_OK)
  {
    Error_Handler();
  }

}

static void MX_DMA_Init(void)
{
  /* DMA controller clock enable */
  __HAL_RCC_DMA1_CLK_ENABLE();

  /* DMA interrupt init */
  /* DMA1_Stream6_IRQn interrupt configuration */
  HAL_NVIC_SetPriority(DMA1_Stream6_IRQn, 0, 0);
  HAL_NVIC_EnableIRQ(DMA1_Stream6_IRQn);

}

/** Configure pins as
        * Analog
        * Input
        * Output
        * EVENT_OUT
        * EXTI
*/
static void MX_GPIO_Init(void)
{

  GPIO_InitTypeDef GPIO_InitStruct;

  /* GPIO Ports Clock Enable */
  __HAL_RCC_GPIOC_CLK_ENABLE();
  __HAL_RCC_GPIOA_CLK_ENABLE();
  __HAL_RCC_GPIOB_CLK_ENABLE();
  __HAL_RCC_GPIOD_CLK_ENABLE();

  /*Configure GPIO pin Output Level */
  HAL_GPIO_WritePin(GPIOC, HEARTBEAT_LED_Pin|MC1_INH_3_3_Pin, GPIO_PIN_RESET);

  /*Configure GPIO pin Output Level */
  HAL_GPIO_WritePin(GPIOA, BLUE_WAKE_SW_Pin|BLUE_WAKE_HW_Pin|MC2_INH_3_3_Pin, GPIO_PIN_RESET);

  /*Configure GPIO pin Output Level */
  HAL_GPIO_WritePin(GPIOB, BLUE_CMD_Pin|SPEAKER_SHUTDOWN_Pin|DEBUG_LED_Pin, GPIO_PIN_RESET);

  /*Configure GPIO pins : HEARTBEAT_LED_Pin MC1_INH_3_3_Pin */
  GPIO_InitStruct.Pin = HEARTBEAT_LED_Pin|MC1_INH_3_3_Pin;
  GPIO_InitStruct.Mode = GPIO_MODE_OUTPUT_PP;
  GPIO_InitStruct.Pull = GPIO_NOPULL;
  GPIO_InitStruct.Speed = GPIO_SPEED_FREQ_LOW;
  HAL_GPIO_Init(GPIOC, &GPIO_InitStruct);

  /*Configure GPIO pins : BLUE_WAKE_SW_Pin BLUE_WAKE_HW_Pin MC2_INH_3_3_Pin */
  GPIO_InitStruct.Pin = BLUE_WAKE_SW_Pin|BLUE_WAKE_HW_Pin|MC2_INH_3_3_Pin;
  GPIO_InitStruct.Mode = GPIO_MODE_OUTPUT_PP;
  GPIO_InitStruct.Pull = GPIO_NOPULL;
  GPIO_InitStruct.Speed = GPIO_SPEED_FREQ_LOW;
  HAL_GPIO_Init(GPIOA, &GPIO_InitStruct);

  /*Configure GPIO pins : BLUE_CMD_Pin SPEAKER_SHUTDOWN_Pin DEBUG_LED_Pin */
  GPIO_InitStruct.Pin = BLUE_CMD_Pin|SPEAKER_SHUTDOWN_Pin|DEBUG_LED_Pin;
  GPIO_InitStruct.Mode = GPIO_MODE_OUTPUT_PP;
  GPIO_InitStruct.Pull = GPIO_NOPULL;
  GPIO_InitStruct.Speed = GPIO_SPEED_FREQ_LOW;
  HAL_GPIO_Init(GPIOB, &GPIO_InitStruct);

}

void Error_Handler(void)
{
  while(1)
  {
  }
}

/************************ (C) COPYRIGHT STMicroelectronics *****END OF FILE****/
